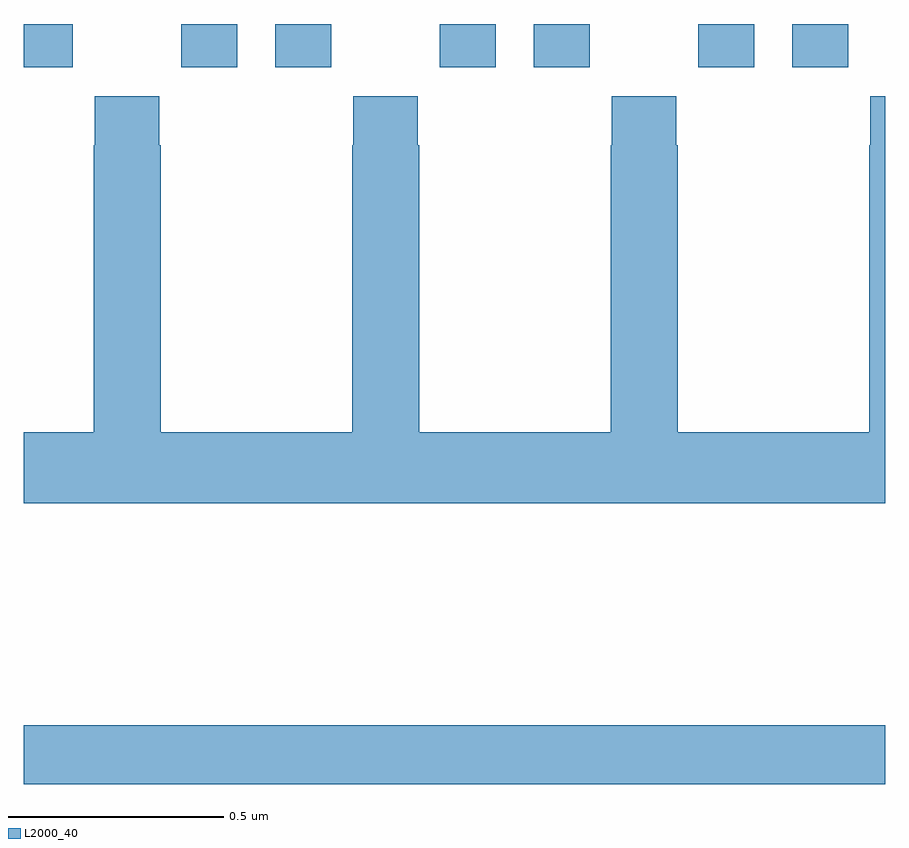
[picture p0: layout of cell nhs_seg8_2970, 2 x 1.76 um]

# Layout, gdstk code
import gdstk
lib = gdstk.Library(unit=1e-6, precision=1e-09)
def R(c, l, rs):  # rectangles x0, y0, x1, y1
    for r in rs: c.add(gdstk.rectangle(r[:2], r[2:], *l))
def P(c, l, *ps):  # polygons
    for p in ps: c.add(gdstk.Polygon(p, *l))
L2000_40 = (2000, 40)

nhs_seg8_2970 = lib.new_cell('nhs_seg8_2970')
R(nhs_seg8_2970, L2000_40, [(150,1161.136,152,1161.272), (150,1162.8,150.114,1162.9), (150.366,1162.8,150.496,1162.9), (150.584,1162.8,150.714,1162.9), (150.966,1162.8,151.096,1162.9), (151.184,1162.8,151.314,1162.9), (151.566,1162.8,151.696,1162.9), (151.784,1162.8,151.914,1162.9)])
P(nhs_seg8_2970, L2000_40, [(152,1162.732),(151.965,1162.732),(151.965,1162.619),(151.963,1162.619),(151.963,1161.952),(151.518,1161.952),(151.518,1162.619),(151.515,1162.619),(151.515,1162.732),(151.365,1162.732),(151.365,1162.619),(151.363,1162.619),(151.363,1161.952),(150.918,1161.952),(150.918,1162.619),(150.915,1162.619),(150.915,1162.732),(150.765,1162.732),(150.765,1162.619),(150.763,1162.619),(150.763,1161.952),(150.318,1161.952),(150.318,1162.619),(150.315,1162.619),(150.315,1162.732),(150.165,1162.732),(150.165,1162.619),(150.163,1162.619),(150.163,1161.952),(150,1161.952),(150,1161.788),(152,1161.788)])

lib.write_gds('nhs_seg8_2970.gds')
